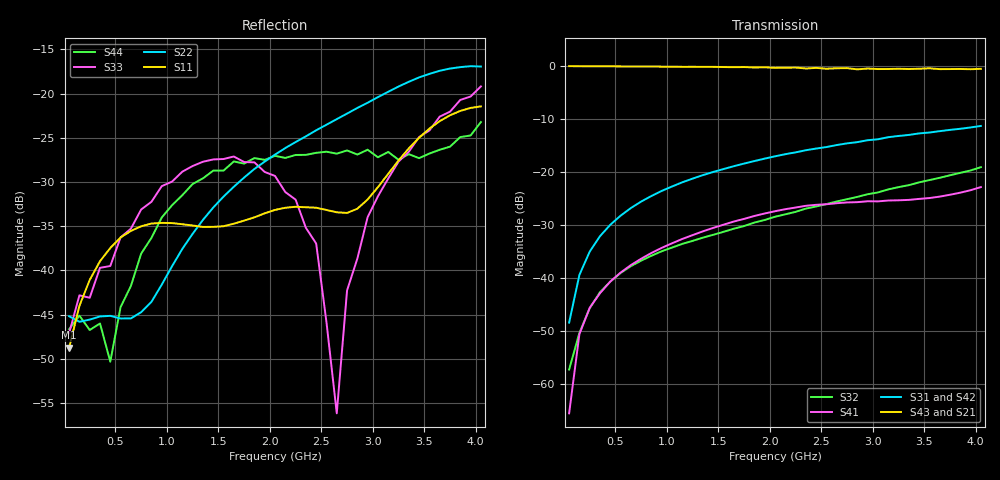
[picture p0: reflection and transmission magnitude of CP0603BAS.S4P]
! Network Analyzer HP8720D.07.14 Serial No. US38111185
! 28 Apr 1999  02:06:29
! Frequency 	S11		S21		S31		S41		S12		S22		S23		S24		S13		S23		S33		S34		S14		S24		S34		S44
# HZ  S  DB R 50
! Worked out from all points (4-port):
!   41 points, 50 MHz to 4.05 GHz, reference 50 ohm
!   strongest paths, dB at 50 MHz, 1.05 GHz, 2.05 GHz, 3.05 GHz, 4.05 GHz:
!     S43: 0.0, -0.1, -0.3, -0.5, -0.5
!     S21: 0.0, -0.1, -0.3, -0.6, -0.8
!     S31: -48.3, -22.7, -17.0, -13.8, -11.3
!     S42: -47.0, -22.7, -17.0, -13.7, -11.3
!     S41: -65.4, -33.4, -27.3, -25.5, -22.8
!     S32: -57.2, -34.2, -28.4, -23.8, -19.0
!   lowest |S11| = -48.7 dB at 50 MHz (marker M1), VSWR 1.01, Z = 50.4 - j0.0205 ohm
!   |S11| at or under -10 dB: start of sweep to end of sweep
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5e7  -48.75 -3.2  0.01 -1.0  -50.21 89.3  -60.66 115.0
     0.01 -0.7  -45.17 5.1  -54.52 82.1  -47.96 93.8
     -48.34 87.2  -57.19 131.2  -47.10 1.7  -0.00 -1.1
     -65.45 104.8  -47.03 100.3  0.02 -0.8  -46.64 -1.6
4.5e8  -37.46 -85.4  -0.02 -6.4  -29.93 82.8  -40.63 83.6
       -0.01 -6.6  -45.13 -23.9  -40.66 80.6  -29.98 82.8
       -29.89 82.5  -40.61 80.6  -39.50 73.4  -0.02 -7.0
       -40.59 83.5  -29.99 82.7  -0.01 -7.1  -50.32 73.0
1.85e9  -34.00 -103.0  -0.21 -25.9  -17.83 62.4  -28.21 64.0
        -0.27 -26.6  -28.53 -9.3  -29.58 70.8  -17.93 62.8
        -17.87 62.3  -29.47 71.3  -27.78 87.4  -0.19 -28.1
        -28.23 64.3  -17.88 62.3  -0.23 -28.8  -27.30 132.4
2.45e9  -32.91 -88.8  -0.39 -34.2  -15.48 53.7  -26.11 51.8
        -0.37 -35.0  -24.16 -27.2  -26.52 67.0  -15.65 54.4
        -15.51 53.1  -26.44 66.7  -36.96 89.4  -0.39 -37.3
        -26.12 51.4  -15.52 53.1  -0.30 -37.6  -26.71 155.4
2.65e9  -33.43 -75.5  -0.40 -36.9  -14.84 50.4  -25.78 48.3
        -0.45 -37.4  -22.90 -29.1  -25.56 64.7  -15.02 51.2
        -14.85 50.5  -25.49 64.9  -56.15 70.4  -0.39 -40.2
        -25.82 48.2  -14.87 50.3  -0.37 -40.3  -26.80 163.8
2.95e9  -31.98 -39.4  -0.50 -41.3  -14.00 45.8  -25.43 44.5
        -0.50 -41.1  -21.04 -30.0  -24.24 61.5  -14.21 46.7
        -13.94 46.2  -24.13 61.9  -33.97 -97.1  -0.49 -44.7
        -25.45 44.5  -13.98 46.0  -0.42 -44.2  -26.35 177.4
4.05e9  -21.45 -10.4  -1.19 -59.7  -11.65 28.3  -22.76 46.7
        -0.76 -54.7  -16.95 -39.3  -19.26 42.6  -11.90 30.8
        -11.25 32.2  -19.02 45.9  -19.20 -102.3  -1.11 -64.2
        -22.78 48.6  -11.30 32.3  -0.47 -58.5  -23.23 -134.9
